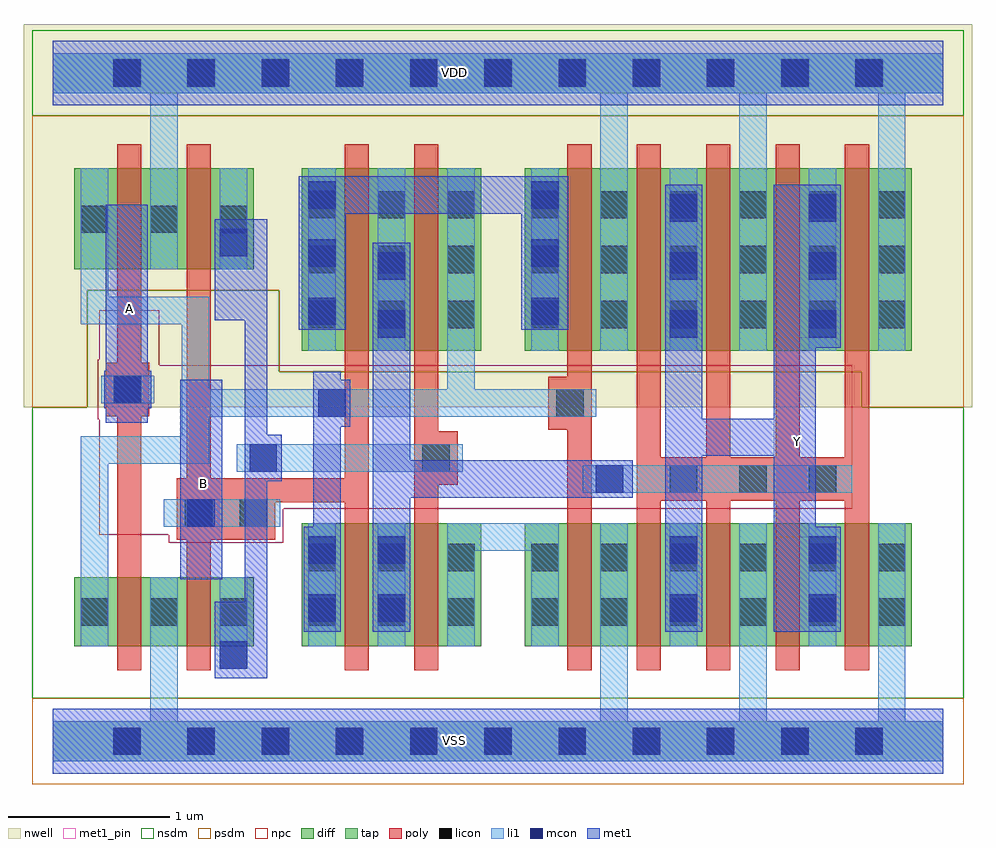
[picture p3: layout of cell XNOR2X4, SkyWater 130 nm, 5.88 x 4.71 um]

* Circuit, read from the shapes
.subckt XNOR2X4 A B VDD VSS Y
XM1 VSS A n1 VSS sky130_fd_pr__nfet_01v8 w=0.425 l=0.15
XM2 n2 B VSS VSS sky130_fd_pr__nfet_01v8 w=0.425 l=0.15
XM3 n3 B n1 VSS sky130_fd_pr__nfet_01v8 w=0.76 l=0.15
XM4 n4 n2 n3 VSS sky130_fd_pr__nfet_01v8 w=0.76 l=0.15
XM5 VSS n1 n4 VSS sky130_fd_pr__nfet_01v8 w=0.76 l=0.15
XM6 Y n3 VSS VSS sky130_fd_pr__nfet_01v8 w=0.76 l=0.15 m=4
XM7 VDD A n1 VDD sky130_fd_pr__pfet_01v8 w=0.625 l=0.15
XM8 n2 B VDD VDD sky130_fd_pr__pfet_01v8 w=0.625 l=0.15
XM9 n3 B n5 VDD sky130_fd_pr__pfet_01v8 w=1.13 l=0.15
XM10 n1 n2 n3 VDD sky130_fd_pr__pfet_01v8 w=1.13 l=0.15
XM11 VDD n1 n5 VDD sky130_fd_pr__pfet_01v8 w=1.13 l=0.15
XM12 Y n3 VDD VDD sky130_fd_pr__pfet_01v8 w=1.13 l=0.15 m=4
.ends

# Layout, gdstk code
from math import pi, radians
import gdstk
lib = gdstk.Library(unit=1e-6, precision=1e-09)
def R(c, l, rs):  # rectangles x0, y0, x1, y1
    for r in rs: c.add(gdstk.rectangle(r[:2], r[2:], *l))
def A(c, l, x, y, w, h, nx, ny, dx, dy):  # array of equal rectangles
    R(c, l, [(x+i*dx, y+j*dy, x+i*dx+w, y+j*dy+h) for i in range(nx) for j in range(ny)])
def P(c, l, *ps):  # polygons
    for p in ps: c.add(gdstk.Polygon(p, *l))
nwell = (64, 20)
diff = (65, 20)
tap = (65, 44)
poly = (66, 20)
licon = (66, 44)
li1 = (67, 20)
mcon = (67, 44)
met1_pin = (68, 16)
met1 = (68, 20)
nsdm = (93, 44)
psdm = (94, 20)
npc = (95, 20)

polyconn_cdns_7587282621 = lib.new_cell('polyConn_CDNS_758728262100')
R(polyconn_cdns_7587282621, poly, [(-0.165,-0.135,0.165,0.135)])
R(polyconn_cdns_7587282621, licon, [(-0.085,-0.085,0.085,0.085)])
R(polyconn_cdns_7587282621, li1, [(-0.085,-0.165,0.085,0.165)])
R(polyconn_cdns_7587282621, mcon, [(-0.085,-0.085,0.085,0.085)])
R(polyconn_cdns_7587282621, met1, [(-0.115,-0.145,0.115,0.145)])
R(polyconn_cdns_7587282621, npc, [(-0.185,-0.185,0.185,0.185)])

pyl1con_c_cdns_758728262 = lib.new_cell('PYL1CON_C_CDNS_758728262102')
R(pyl1con_c_cdns_758728262, poly, [(-0.135,-0.165,0.135,0.165)])
R(pyl1con_c_cdns_758728262, licon, [(-0.085,-0.085,0.085,0.085)])
R(pyl1con_c_cdns_758728262, npc, [(-0.185,-0.185,0.185,0.185)])

l1m1_c_cdns_758728262101 = lib.new_cell('L1M1_C_CDNS_758728262101')
R(l1m1_c_cdns_758728262101, li1, [(-0.085,-0.165,0.085,0.165)])
R(l1m1_c_cdns_758728262101, mcon, [(-0.085,-0.085,0.085,0.085)])
R(l1m1_c_cdns_758728262101, met1, [(-0.115,-0.145,0.115,0.145)])

l1m1_c_cdns_758728262100 = lib.new_cell('L1M1_C_CDNS_758728262100')
R(l1m1_c_cdns_758728262100, li1, [(-0.165,-0.085,0.165,0.085)])
R(l1m1_c_cdns_758728262100, mcon, [(-0.085,-0.085,0.085,0.085)])
R(l1m1_c_cdns_758728262100, met1, [(-0.115,-0.145,0.115,0.145)])

l1m1_c_cdns_758728262104 = lib.new_cell('L1M1_C_CDNS_758728262104')
R(l1m1_c_cdns_758728262104, li1, [(-0.085,-0.345,0.085,0.345)])
R(l1m1_c_cdns_758728262104, mcon, [(-0.085,-0.265,0.085,-0.095), (-0.085,0.095,0.085,0.265)])
R(l1m1_c_cdns_758728262104, met1, [(-0.115,-0.325,0.115,0.325)])

l1m1_c_cdns_758728262103 = lib.new_cell('L1M1_C_CDNS_758728262103')
R(l1m1_c_cdns_758728262103, li1, [(-0.085,-0.165,0.085,0.165)])
R(l1m1_c_cdns_758728262103, mcon, [(-0.085,-0.085,0.085,0.085)])
R(l1m1_c_cdns_758728262103, met1, [(-0.145,-0.115,0.145,0.115)])

l1m1_c_cdns_758728262105 = lib.new_cell('L1M1_C_CDNS_758728262105')
R(l1m1_c_cdns_758728262105, li1, [(-0.165,-0.085,0.165,0.085)])
R(l1m1_c_cdns_758728262105, mcon, [(-0.085,-0.085,0.085,0.085)])
R(l1m1_c_cdns_758728262105, met1, [(-0.145,-0.115,0.145,0.115)])

c_l1m1_c_cdns_758728262101 = lib.new_cell('L1M1_C_CDNS_7587282621014')
R(c_l1m1_c_cdns_758728262101, li1, [(-0.085,-0.525,0.085,0.525)])
A(c_l1m1_c_cdns_758728262101, mcon, -0.085, -0.445, 0.17, 0.17, 1, 3, 0, 0.36)
R(c_l1m1_c_cdns_758728262101, met1, [(-0.145,-0.475,0.145,0.475)])

c_l1m1_c_cdns_758728262101_ = lib.new_cell('L1M1_C_CDNS_7587282621012')
R(c_l1m1_c_cdns_758728262101_, li1, [(-0.085,-0.525,0.085,0.525)])
A(c_l1m1_c_cdns_758728262101_, mcon, -0.085, -0.445, 0.17, 0.17, 1, 3, 0, 0.36)
R(c_l1m1_c_cdns_758728262101_, met1, [(-0.115,-0.505,0.115,0.505)])

l1m1_c_cdns_758728262107 = lib.new_cell('L1M1_C_CDNS_758728262107')
R(l1m1_c_cdns_758728262107, li1, [(-0.085,-0.085,0.085,0.165)])
R(l1m1_c_cdns_758728262107, mcon, [(-0.085,-0.085,0.085,0.085)])
R(l1m1_c_cdns_758728262107, met1, [(-0.115,-0.145,0.115,0.145)])

xnor2x4 = lib.new_cell('XNOR2X4')
R(xnor2x4, nwell, [(-0.18,2.07,5.7,4.445)])
R(xnor2x4, diff, [(0.135,0.59,1.245,1.015), (1.545,0.59,2.655,1.35), (2.925,0.59,5.325,1.35), (1.545,2.42,2.655,3.55), (2.925,2.42,5.325,3.55), (0.135,2.925,1.245,3.55)])
A(xnor2x4, poly, 3.19, 0.44, 0.15, 3.26, 5, 1, 0.43, 0)
R(xnor2x4, poly, [(0.4,0.44,0.55,3.7), (2.24,0.44,2.39,3.7)])
P(xnor2x4, poly, [(1.96,3.7),(1.81,3.7),(1.81,1.63),(0.98,1.63),(0.98,3.7),(0.83,3.7),(0.83,1.63),(0.77,1.63),(0.77,1.25),(0.83,1.25),(0.83,0.44),(0.98,0.44),(0.98,1.25),(1.38,1.25),(1.38,1.48),(1.81,1.48),(1.81,0.44),(1.96,0.44)])
A(xnor2x4, licon, 0.375, -0.085, 0.17, 0.17, 11, 2, 0.46, 4.14)
A(xnor2x4, licon, 0.175, 0.715, 0.17, 0.17, 3, 2, 0.43, 2.435)
A(xnor2x4, licon, 1.585, 0.715, 0.17, 0.17, 3, 2, 0.43, 0.34)
A(xnor2x4, licon, 2.965, 0.715, 0.17, 0.17, 6, 2, 0.43, 0.34)
A(xnor2x4, licon, 1.585, 2.56, 0.17, 0.17, 3, 3, 0.43, 0.34)
A(xnor2x4, licon, 2.965, 2.56, 0.17, 0.17, 6, 3, 0.43, 0.34)
A(xnor2x4, li1, 2.965, 2.42, 0.17, 1.13, 3, 1, 0.86, 0)
R(xnor2x4, li1, [(1.035,0.59,1.205,1.015), (1.585,0.59,1.755,1.35), (2.015,0.59,2.185,1.35), (3.825,0.59,3.995,1.35), (4.685,0.59,4.855,1.35), (1.585,2.42,1.755,3.55), (2.015,2.42,2.185,3.55), (1.035,2.925,1.205,3.55)])
P(xnor2x4, li1, [(3.135,1.35),(2.445,1.35),(2.445,0.59),(2.615,0.59),(2.615,1.18),(2.965,1.18),(2.965,0.59),(3.135,0.59)],
  [(3.37,2.18),(2.615,2.18),(2.615,3.55),(2.445,3.55),(2.445,2.18),(0.97,2.18),(0.97,2.755),(0.345,2.755),(0.345,3.55),(0.175,3.55),(0.175,2.585),(0.8,2.585),(0.8,1.89),(0.175,1.89),(0.175,0.59),(0.345,0.59),(0.345,1.72),(0.97,1.72),(0.97,2.01),(3.37,2.01)],
  [(5.52,4.265),(0,4.265),(0,4.015),(0.605,4.015),(0.605,2.925),(0.775,2.925),(0.775,4.015),(3.395,4.015),(3.395,2.42),(3.565,2.42),(3.565,4.015),(4.255,4.015),(4.255,2.42),(4.425,2.42),(4.425,4.015),(5.115,4.015),(5.115,2.42),(5.285,2.42),(5.285,4.015),(5.52,4.015)],
  [(5.52,0.125),(5.285,0.125),(5.285,1.35),(5.115,1.35),(5.115,0.125),(4.425,0.125),(4.425,1.35),(4.255,1.35),(4.255,0.125),(3.565,0.125),(3.565,1.35),(3.395,1.35),(3.395,0.125),(0.775,0.125),(0.775,1.015),(0.605,1.015),(0.605,0.125),(0,0.125),(0,-0.125),(5.52,-0.125)])
A(xnor2x4, mcon, 0.375, -0.085, 0.17, 0.17, 11, 2, 0.46, 4.14)
R(xnor2x4, met1_pin, [(0.79,1.005,1.05,2.24), (4.47,1.265,4.73,2.505), (0.33,1.975,0.59,3.325)])
P(xnor2x4, met1, [(1.33,3.235),(1.005,3.235),(1.005,2.61),(1.19,2.61),(1.19,0.865),(1.005,0.865),(1.005,0.39),(1.33,0.39)],
  [(3.595,1.74),(2.215,1.74),(2.215,3.09),(1.985,3.09),(1.985,0.68),(2.215,0.68),(2.215,1.51),(3.595,1.51)],
  [(4.73,3.45),(4.47,3.45),(4.47,2),(4.025,2),(4.025,3.45),(3.795,3.45),(3.795,0.68),(4.025,0.68),(4.025,1.77),(4.47,1.77),(4.47,0.68),(4.73,0.68)])
R(xnor2x4, nsdm, [(-0.125,3.875,5.645,4.405)])
P(xnor2x4, nsdm, [(5.645,2.07),(5.015,2.07),(5.015,2.29),(1.405,2.29),(1.405,2.795),(0.215,2.795),(0.215,2.07),(-0.125,2.07),(-0.125,0.265),(5.645,0.265)])
R(xnor2x4, psdm, [(-0.125,-0.265,5.645,0.265)])
P(xnor2x4, psdm, [(5.645,3.875),(-0.125,3.875),(-0.125,2.07),(0.215,2.07),(0.215,2.795),(1.405,2.795),(1.405,2.29),(5.015,2.29),(5.015,2.07),(5.645,2.07)])
P(xnor2x4, npc, [(4.955,2.33),(0.66,2.33),(0.66,2.67),(0.29,2.67),(0.29,1.28),(1.43,1.28),(1.43,1.44),(4.955,1.44)])
xnor2x4.add(gdstk.FlexPath([(0,4.14),(5.52,4.14)], 0.4, ends="flush", simple_path=True, layer=68, datatype=16))  # met1_pin
xnor2x4.add(gdstk.FlexPath([(0,0),(5.52,0)], 0.4, ends="flush", simple_path=True, layer=68, datatype=16))  # met1_pin
xnor2x4.add(gdstk.FlexPath([(2.54,1.755),(1.14,1.755)], 0.17, ends="flush", simple_path=True, layer=67, datatype=20))  # li1
xnor2x4.add(gdstk.FlexPath([(4.955,1.625),(3.285,1.625)], 0.17, ends="flush", simple_path=True, layer=67, datatype=20))  # li1
xnor2x4.add(gdstk.FlexPath([(1.41,1.415),(0.69,1.415)], 0.17, ends="flush", simple_path=True, layer=67, datatype=20))  # li1
xnor2x4.add(gdstk.FlexPath([(0,4.14),(5.52,4.14)], 0.25, ends="flush", simple_path=True, layer=65, datatype=44))  # tap
xnor2x4.add(gdstk.FlexPath([(0,0),(5.52,0)], 0.25, ends="flush", simple_path=True, layer=65, datatype=44))  # tap
xnor2x4.add(gdstk.FlexPath([(0,4.14),(5.52,4.14)], 0.4, ends="flush", simple_path=True, layer=68, datatype=20))  # met1
xnor2x4.add(gdstk.FlexPath([(0.92,1.005),(0.92,2.24)], 0.26, ends="flush", simple_path=True, layer=68, datatype=20))  # met1
xnor2x4.add(gdstk.FlexPath([(0.46,1.975),(0.46,3.325)], 0.26, ends="flush", simple_path=True, layer=68, datatype=20))  # met1
xnor2x4.add(gdstk.FlexPath([(1.7,0.705),(1.7,2.29)], 0.17, ends="flush", simple_path=True, layer=68, datatype=20))  # met1
xnor2x4.add(gdstk.FlexPath([(1.525,3.385),(3.195,3.385)], 0.23, ends="flush", simple_path=True, layer=68, datatype=20))  # met1
xnor2x4.add(gdstk.FlexPath([(0,0),(5.52,0)], 0.4, ends="flush", simple_path=True, layer=68, datatype=20))  # met1
xnor2x4.add(gdstk.Reference(polyconn_cdns_7587282621, (0.465,2.18), rotation=pi/2))
xnor2x4.add(gdstk.Reference(pyl1con_c_cdns_758728262, (4.34,1.625), rotation=3*pi/2, x_reflection=True))
xnor2x4.add(gdstk.Reference(pyl1con_c_cdns_758728262, (3.91,1.625), rotation=3*pi/2, x_reflection=True))
xnor2x4.add(gdstk.Reference(pyl1con_c_cdns_758728262, (2.375,1.755), x_reflection=True))
xnor2x4.add(gdstk.Reference(pyl1con_c_cdns_758728262, (3.205,2.095), x_reflection=True))
xnor2x4.add(gdstk.Reference(pyl1con_c_cdns_758728262, (1.245,1.415), x_reflection=True))
xnor2x4.add(gdstk.Reference(pyl1con_c_cdns_758728262, (4.77,1.625), rotation=3*pi/2, x_reflection=True))
xnor2x4.add(gdstk.Reference(pyl1con_c_cdns_758728262, (0.905,1.415), rotation=pi, x_reflection=True))
xnor2x4.add(gdstk.Reference(l1m1_c_cdns_758728262101, (1.12,3.09)))
xnor2x4.add(gdstk.Reference(l1m1_c_cdns_758728262100, (1.73,2.095)))
xnor2x4.add(gdstk.Reference(l1m1_c_cdns_758728262100, (0.92,1.415), x_reflection=True))
xnor2x4.add(gdstk.Reference(l1m1_c_cdns_758728262104, (1.67,1.005)))
xnor2x4.add(gdstk.Reference(l1m1_c_cdns_758728262104, (4.77,1.005)))
xnor2x4.add(gdstk.Reference(l1m1_c_cdns_758728262104, (3.91,1.005)))
xnor2x4.add(gdstk.Reference(l1m1_c_cdns_758728262104, (2.1,2.765)))
xnor2x4.add(gdstk.Reference(l1m1_c_cdns_758728262104, (2.1,1.005)))
xnor2x4.add(gdstk.Reference(l1m1_c_cdns_758728262103, (1.305,1.755), rotation=pi/2))
xnor2x4.add(gdstk.Reference(l1m1_c_cdns_758728262105, (3.45,1.625)))
xnor2x4.add(gdstk.Reference(c_l1m1_c_cdns_758728262101, (1.67,3.025)))
xnor2x4.add(gdstk.Reference(c_l1m1_c_cdns_758728262101, (3.05,3.025)))
xnor2x4.add(gdstk.Reference(c_l1m1_c_cdns_758728262101_, (4.77,2.945)))
xnor2x4.add(gdstk.Reference(c_l1m1_c_cdns_758728262101_, (3.91,2.945)))
xnor2x4.add(gdstk.Reference(l1m1_c_cdns_758728262107, (1.12,0.535)))
xnor2x4.add(gdstk.Label('VDD', (2.49,4.145), layer=68, texttype=5))
xnor2x4.add(gdstk.Label('A', (0.475,2.68), layer=68, texttype=5))
xnor2x4.add(gdstk.Label('Y', (4.615,1.86), layer=68, texttype=5))
xnor2x4.add(gdstk.Label('B', (0.935,1.6), layer=68, texttype=5))
xnor2x4.add(gdstk.Label('VSS', (2.49,0.005), layer=68, texttype=5))

lib.write_gds('XNOR2X4.gds')
